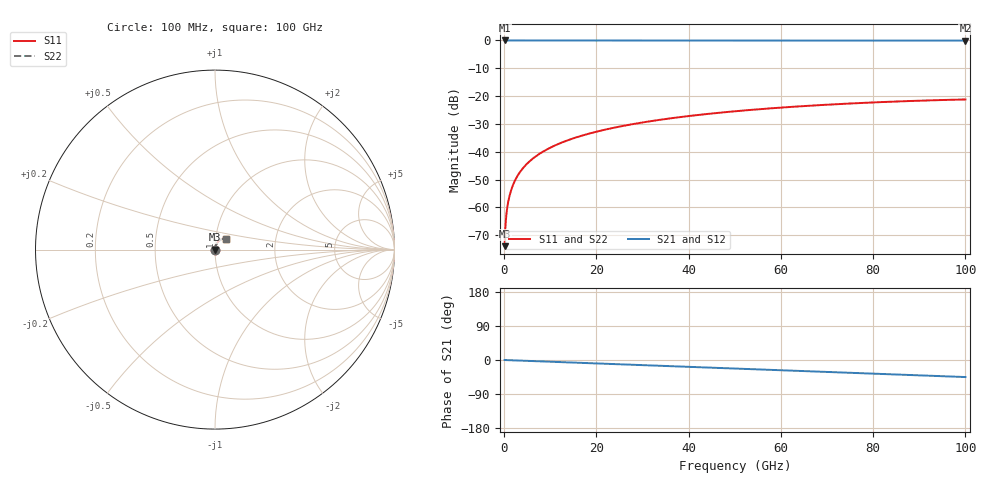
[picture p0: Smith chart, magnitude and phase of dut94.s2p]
! Touchstone file exported from HFSS 2026.1.0
!  File:  C:/ffzhzh/LocalFiles/Ansys_Project_Files/temp_train_TSV_94_1783505651_9504.aedt
!  Generated:  06:15:34 PM Jul  8, 2026
!  Design:  TSV
!  Project:  temp_train_TSV_94_1783505651_9504
! Variables:
!  h_bsmrdl = 2um
!  h_ox = 20um
!  h_rdl = 5um
!  h_sub = 88.69um
!  h_tmrdl = 5um
!  h_tsv = 88.69um
!  h_via = 3um
!  l_bsmrdl = 300um
!  l_sub = 421.28um
!  l_tmrdl = 200um
!  m_sub = 200um
!  pitch = 50.84um
!  r_tsv = 10.64um
!  s_tmrdl = 10um
!  w_bsmrdl = 18um
!  w_sub = 500um
!  w_tmrdl = 12um
!  x_tsv_center1 = 206um
!  x_tsv_center2 = 524um
!  x_tsv_center3 = 736um
!  x_tsv_center4 = 1054um
!  x_tsv_center5 = 1266um
!  x_tsv_center6 = 1584um
# GHz S MA R 50.000000
! Terminal data exported
! Port[1] = TSV1_1_T1
! Port[2] = TSV1_1_T2
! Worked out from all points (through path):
!   1000 points, 100 MHz to 100 GHz, reference 50 ohm
!   highest |S21| = 0.00 dB at 100 MHz (marker M1); lowest = -0.1 dB at 100 GHz (marker M2)
!   group delay of S21, straight-line fit = 1.25 ps
!   lowest |S11| = -73.9 dB at 100 MHz (marker M3), VSWR 1.00, Z = 50 + j0.016 ohm
!   |S11| at or under -10 dB: start of sweep to end of sweep
!   |S22| runs from -73.9 to -21.2 dB; largest |S21 - S12| = 4.1e-15
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0.1  0.0002019 52.3  0.9999 -0.0  0.9999 -0.0  0.0002019 52.3
! Gamma 0 0 0 0
! Port Impedance 50 0 50 0
0.3  0.0004912 71.3  0.9998 -0.1  0.9998 -0.1  0.0004912 71.3
0.7  0.001036 76.1  0.9998 -0.3  0.9998 -0.3  0.001036 76.1
0.8  0.001164 76.7  0.9997 -0.4  0.9997 -0.4  0.001164 76.7
1  0.001413 77.6  0.9997 -0.5  0.9997 -0.5  0.001413 77.6
1.3  0.001782 78.6  0.9997 -0.6  0.9997 -0.6  0.001782 78.6
1.8  0.002389 79.8  0.9996 -0.8  0.9996 -0.8  0.002389 79.8
2.3  0.00299 80.5  0.9996 -1.1  0.9996 -1.1  0.00299 80.5
3  0.003822 81.1  0.9995 -1.4  0.9995 -1.4  0.003822 81.1
3.8  0.004759 81.4  0.9994 -1.7  0.9994 -1.7  0.004759 81.4
4.8  0.005919 81.6  0.9993 -2.2  0.9993 -2.2  0.005919 81.6
6  0.007301 81.7  0.9993 -2.7  0.9993 -2.7  0.007301 81.7
8.8  0.0105 81.3  0.9991 -4.0  0.9991 -4.0  0.0105 81.3
12.4  0.01456 80.3  0.9989 -5.6  0.9989 -5.6  0.01456 80.3
16.8  0.01944 78.8  0.9986 -7.6  0.9986 -7.6  0.01944 78.8
24.2  0.0275 76.1  0.9982 -10.9  0.9982 -10.9  0.0275 76.1
33.4  0.03719 72.4  0.9976 -15.1  0.9976 -15.1  0.03719 72.4
41.2  0.04505 69.1  0.9971 -18.6  0.9971 -18.6  0.04505 69.1
50.1  0.05352 65.3  0.9965 -22.6  0.9965 -22.6  0.05352 65.3
66.7  0.06764 58.1  0.9953 -30.0  0.9953 -30.0  0.06763 58.1
83.4  0.07913 50.8  0.9941 -37.5  0.9941 -37.5  0.07913 50.8
100  0.08718 43.5  0.993 -45.0  0.993 -45.0  0.08718 43.5
